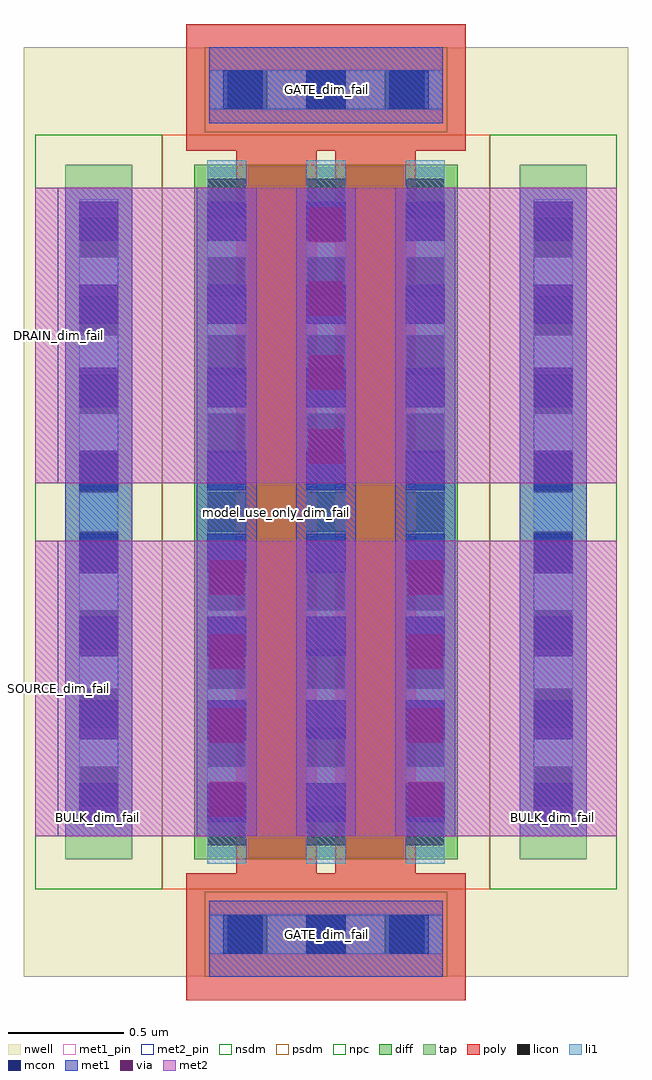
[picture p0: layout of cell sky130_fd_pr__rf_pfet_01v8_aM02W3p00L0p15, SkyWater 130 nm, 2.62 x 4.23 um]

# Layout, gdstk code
import gdstk
lib = gdstk.Library(unit=1e-6, precision=1e-09)
def R(c, l, rs):  # rectangles x0, y0, x1, y1
    for r in rs: c.add(gdstk.rectangle(r[:2], r[2:], *l))
def A(c, l, x, y, w, h, nx, ny, dx, dy):  # array of equal rectangles
    R(c, l, [(x+i*dx, y+j*dy, x+i*dx+w, y+j*dy+h) for i in range(nx) for j in range(ny)])
def P(c, l, *ps):  # polygons
    for p in ps: c.add(gdstk.Polygon(p, *l))
nwell = (64, 20)
diff = (65, 20)
tap = (65, 44)
poly = (66, 20)
licon = (66, 44)
li1 = (67, 20)
mcon = (67, 44)
met1_pin = (68, 16)
met1 = (68, 20)
via = (68, 44)
met2_pin = (69, 16)
met2 = (69, 20)
nsdm = (93, 44)
psdm = (94, 20)
npc = (95, 20)

sky130_fd_pr__rf_pfet_01 = lib.new_cell('sky130_fd_pr__rf_pfet_01v8_aM02W3p00L0p15')
R(sky130_fd_pr__rf_pfet_01, nwell, [(0,0,2.62,4.03)])
R(sky130_fd_pr__rf_pfet_01, diff, [(0.74,0.51,1.88,3.52)])
R(sky130_fd_pr__rf_pfet_01, tap, [(0.18,0.51,0.47,3.52), (2.15,0.51,2.44,3.52)])
P(sky130_fd_pr__rf_pfet_01, poly, [(0.705,-0.1),(0.705,0.45),(0.92,0.45),(0.92,3.58),(1.27,3.58),(1.27,0.45),(1.35,0.45),(1.35,3.58),(0.705,3.58),(0.705,4.13),(1.915,4.13),(1.915,3.58),(1.7,3.58),(1.7,0.45),(1.915,0.45),(1.915,-0.1)])
A(sky130_fd_pr__rf_pfet_01, licon, 0.885, 0.1, 0.17, 0.17, 3, 2, 0.34, 3.66)
A(sky130_fd_pr__rf_pfet_01, licon, 0.795, 0.57, 0.17, 0.17, 3, 9, 0.43, 0.34)
A(sky130_fd_pr__rf_pfet_01, licon, 0.24, 0.74, 0.17, 0.17, 1, 8, 0, 0.34)
A(sky130_fd_pr__rf_pfet_01, licon, 2.21, 0.74, 0.17, 0.17, 1, 8, 0, 0.34)
A(sky130_fd_pr__rf_pfet_01, li1, 0.795, 0.49, 0.17, 3.05, 3, 1, 0.43, 0)
A(sky130_fd_pr__rf_pfet_01, li1, 0.795, 0.67, 0.17, 2.69, 3, 1, 0.43, 0)
R(sky130_fd_pr__rf_pfet_01, li1, [(0.805,0.1,1.815,0.27), (0.865,0.1,1.755,0.27), (0.24,0.66,0.41,3.37), (2.21,0.66,2.38,3.37), (0.24,0.67,0.41,3.36), (2.21,0.67,2.38,3.36), (0.805,3.76,1.815,3.93), (0.865,3.76,1.755,3.93)])
A(sky130_fd_pr__rf_pfet_01, mcon, 0.865, 0.1, 0.17, 0.17, 3, 2, 0.36, 3.66)
A(sky130_fd_pr__rf_pfet_01, mcon, 0.24, 0.67, 0.17, 0.17, 1, 8, 0, 0.36)
A(sky130_fd_pr__rf_pfet_01, mcon, 0.795, 0.67, 0.17, 0.17, 3, 8, 0.43, 0.36)
A(sky130_fd_pr__rf_pfet_01, mcon, 2.21, 0.67, 0.17, 0.17, 1, 8, 0, 0.36)
R(sky130_fd_pr__rf_pfet_01, met1_pin, [(0.805,0,1.815,0.33), (0.18,0.61,0.47,0.69), (2.15,0.61,2.44,0.69), (0.805,3.7,1.815,4.03)])
A(sky130_fd_pr__rf_pfet_01, met1, 0.75, 0.61, 0.26, 2.81, 3, 1, 0.43, 0)
R(sky130_fd_pr__rf_pfet_01, met1, [(0.805,0,1.815,0.33), (0.18,0.61,0.47,3.42), (0.75,0.61,1.01,1.89), (1.61,0.61,1.87,1.89), (2.15,0.61,2.44,3.42), (1.18,2.14,1.44,3.42), (0.805,3.7,1.815,4.03)])
A(sky130_fd_pr__rf_pfet_01, via, 0.805, 0.695, 0.15, 0.15, 1, 4, 0, 0.32)
A(sky130_fd_pr__rf_pfet_01, via, 1.665, 0.695, 0.15, 0.15, 1, 4, 0, 0.32)
A(sky130_fd_pr__rf_pfet_01, via, 1.235, 2.225, 0.15, 0.15, 1, 4, 0, 0.32)
R(sky130_fd_pr__rf_pfet_01, met2_pin, [(0.05,0.61,0.15,1.89), (0.05,2.14,0.15,3.42)])
R(sky130_fd_pr__rf_pfet_01, met2, [(0.05,0.61,2.57,1.89), (0.75,0.61,1.01,1.89), (1.61,0.61,1.87,1.89), (0.05,2.14,2.57,3.42), (1.18,2.14,1.44,3.42)])
R(sky130_fd_pr__rf_pfet_01, nsdm, [(0.05,0.38,0.6,3.65), (2.02,0.38,2.57,3.65)])
R(sky130_fd_pr__rf_pfet_01, psdm, [(0.6,0.38,2.02,3.65)])
R(sky130_fd_pr__rf_pfet_01, npc, [(0.785,0,1.835,0.37), (0.785,3.66,1.835,4.03)])
sky130_fd_pr__rf_pfet_01.add(gdstk.Label('model_use_only_dim_fail', (1.095,2.015), layer=66, texttype=83))
sky130_fd_pr__rf_pfet_01.add(gdstk.Label('model_use_only_dim_fail', (1.525,2.015), layer=66, texttype=83))
sky130_fd_pr__rf_pfet_01.add(gdstk.Label('SOURCE_dim_fail', (0.15,1.25), layer=69, texttype=5))
sky130_fd_pr__rf_pfet_01.add(gdstk.Label('DRAIN_dim_fail', (0.15,2.78), layer=69, texttype=5))
sky130_fd_pr__rf_pfet_01.add(gdstk.Label('GATE_dim_fail', (1.31,3.845), layer=68, texttype=5))
sky130_fd_pr__rf_pfet_01.add(gdstk.Label('BULK_dim_fail', (2.29,0.69), layer=68, texttype=5))
sky130_fd_pr__rf_pfet_01.add(gdstk.Label('GATE_dim_fail', (1.31,0.185), layer=68, texttype=5))
sky130_fd_pr__rf_pfet_01.add(gdstk.Label('BULK_dim_fail', (0.32,0.69), layer=68, texttype=5))

lib.write_gds('sky130_fd_pr__rf_pfet_01v8_aM02W3p00L0p15.gds')
